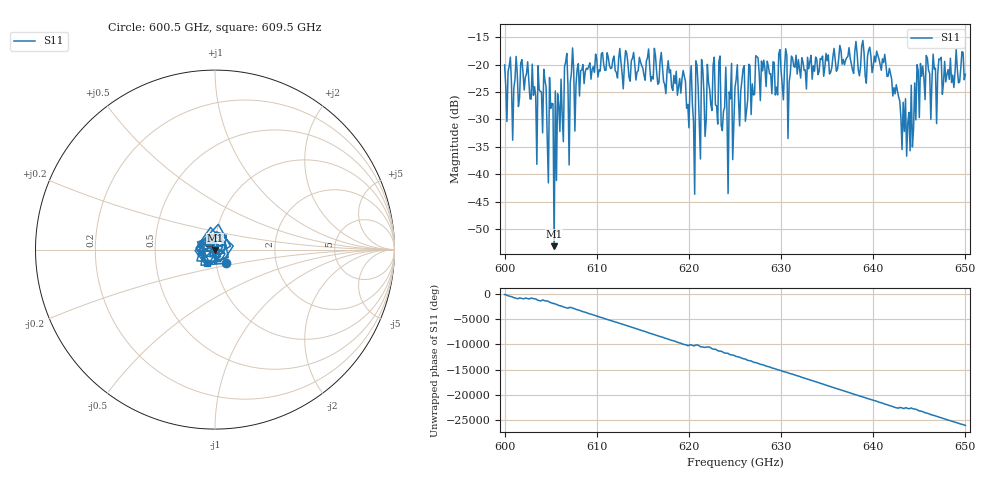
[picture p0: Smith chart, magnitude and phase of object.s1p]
!Created with skrf (http://scikit-rf.org).
# GHz S MA R 50.0
!freq magS11 angS11
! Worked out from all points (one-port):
!   401 points, 600 GHz to 650 GHz, reference 50 ohm
!   lowest |S11| = -53.1 dB at 605.4 GHz (marker M1), VSWR 1.00, Z = 50 - j0.218 ohm
!   |S11| at or under -10 dB: start of sweep to end of sweep
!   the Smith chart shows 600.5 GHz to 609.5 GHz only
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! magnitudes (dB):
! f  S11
! 600 GHz  -20.1
! 601 GHz  -24.4
! 602 GHz  -21.5
! 603.2 GHz  -24.0
! 604.2 GHz  -20.9
! 605 GHz  -28.0
! 605.4 GHz  -53.1
! 605.6 GHz  -41.1
! 606 GHz  -32.2
! 606.2 GHz  -29.2
! 606.6 GHz  -19.5
! 612.5 GHz  -17.1
! 618.8 GHz  -25.6
! 619.4 GHz  -21.1
! 620.4 GHz  -27.2
! 622.5 GHz  -28.4
! 624 GHz  -20.5
! 625 GHz  -24.1
! 626.9 GHz  -23.5
! 627.4 GHz  -18.6
! 631 GHz  -21.6
! 631.2 GHz  -18.9
! 637.5 GHz  -18.9
! 641.2 GHz  -18.1
! 643.8 GHz  -30.6
! 645 GHz  -29.7
! 645.6 GHz  -26.4
! 650 GHz  -21.8
